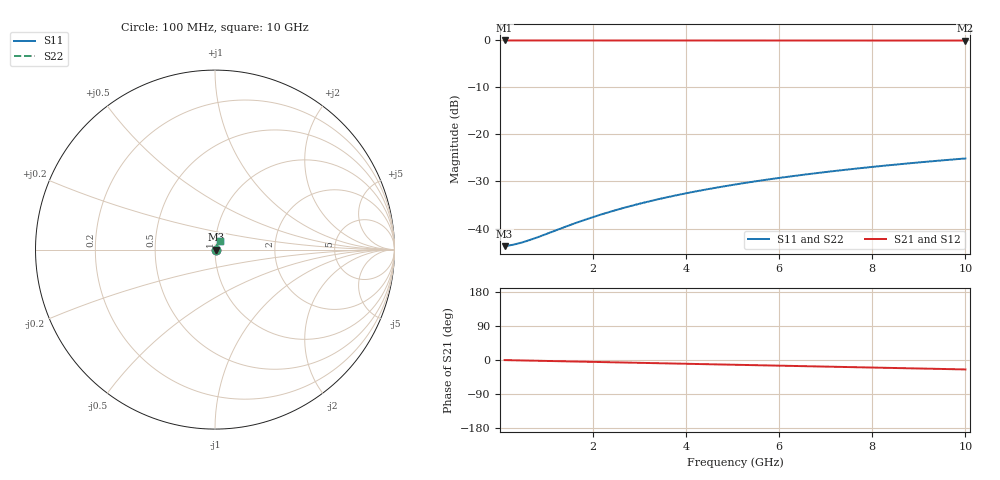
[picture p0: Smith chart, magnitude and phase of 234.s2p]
# Hz S RI R 50.00
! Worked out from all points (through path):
!   100 points, 100 MHz to 10 GHz, reference 50 ohm
!   highest |S21| = -0.06 dB at 100 MHz (marker M1); lowest = -0.1 dB at 10 GHz (marker M2)
!   group delay of S21, straight-line fit = 6.92 ps
!   lowest |S11| = -43.7 dB at 100 MHz (marker M3), VSWR 1.01, Z = 50.7 + j0.0549 ohm
!   |S11| at or under -10 dB: start of sweep to end of sweep
!   |S22| runs from -43.7 to -25.1 dB; largest |S21 - S12| = 0
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1e8  0.00648 0.000542  0.9935 -0.00432  0.9935 -0.00432  0.00648 0.000542
2e8  0.00652 0.00108  0.9934 -0.00863  0.9934 -0.00863  0.00652 0.00108
3e8  0.00657 0.00162  0.9934 -0.013  0.9934 -0.013  0.00657 0.00162
4e8  0.00661 0.00217  0.9933 -0.0173  0.9933 -0.0173  0.00661 0.00217
6e8  0.00669 0.00325  0.993 -0.0259  0.993 -0.0259  0.00669 0.00325
8e8  0.00679 0.00433  0.9927 -0.0345  0.9927 -0.0345  0.00679 0.00433
1.4e9  0.00717 0.00755  0.9914 -0.0604  0.9914 -0.0604  0.00717 0.00755
1.8e9  0.00751 0.00969  0.9901 -0.0776  0.9901 -0.0776  0.00751 0.00969
2.2e9  0.00792 0.0118  0.9885 -0.0948  0.9885 -0.0948  0.00792 0.0118
2.6e9  0.0084 0.0139  0.9867 -0.112  0.9867 -0.112  0.0084 0.0139
3e9  0.00896 0.016  0.9845 -0.1291  0.9845 -0.1291  0.00896 0.016
3.4e9  0.00958 0.0181  0.982 -0.1462  0.982 -0.1462  0.00958 0.0181
3.8e9  0.0103 0.0201  0.9793 -0.1632  0.9793 -0.1632  0.0103 0.0201
4.2e9  0.011 0.0221  0.9762 -0.1802  0.9762 -0.1802  0.011 0.0221
4.6e9  0.0119 0.0241  0.9728 -0.1971  0.9728 -0.1971  0.0119 0.0241
5.1e9  0.013 0.0266  0.9682 -0.2182  0.9682 -0.2182  0.013 0.0266
5.9e9  0.0151 0.0304  0.9599 -0.2517  0.9599 -0.2517  0.0151 0.0304
6.7e9  0.0174 0.034  0.9503 -0.2848  0.9503 -0.2848  0.0174 0.034
7.5e9  0.02 0.0375  0.9396 -0.3176  0.9396 -0.3176  0.02 0.0375
8.4e9  0.0231 0.0412  0.9263 -0.354  0.9263 -0.354  0.0231 0.0412
9.2e9  0.0262 0.0442  0.9132 -0.3858  0.9132 -0.3858  0.0262 0.0442
1e10  0.0294 0.047  0.899 -0.4172  0.899 -0.4172  0.0294 0.047
